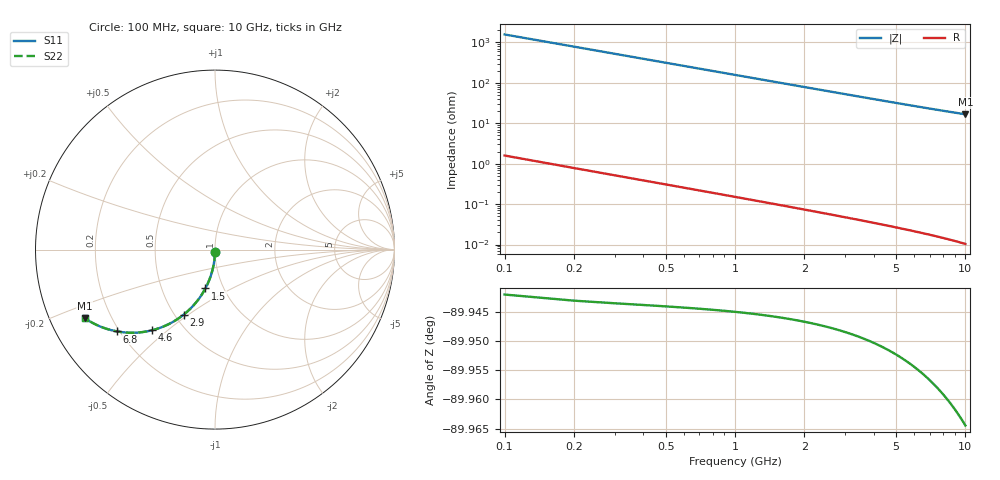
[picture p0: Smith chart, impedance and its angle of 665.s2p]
# Hz S RI R 50.00
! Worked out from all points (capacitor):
!   100 points, 100 MHz to 10 GHz, reference 50 ohm
!   read as one part in shunt: C = 1.01 pF near 100 MHz
!   lowest |Z| = 16.7 ohm at 10 GHz (marker M1)
!   S11 on the Smith chart (normalised r, x): 100 MHz: 1.00, -0.03; 1.5 GHz: 0.82, -0.37; 2.9 GHz: 0.55, -0.48; 4.6 GHz: 0.33, -0.44; 6.8 GHz: 0.19, -0.35; 10 GHz: 0.10, -0.24
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1e8  -3.65e-05 -0.0153  0.9995 -0.0164  0.9995 -0.0164  -3.65e-05 -0.0153
2e8  -0.000802 -0.0305  0.9987 -0.0329  0.9987 -0.0329  -0.000802 -0.0305
3e8  -0.00207 -0.0457  0.9975 -0.0492  0.9975 -0.0492  -0.00207 -0.0457
4e8  -0.00383 -0.0608  0.9957 -0.0655  0.9957 -0.0655  -0.00383 -0.0608
5e8  -0.00608 -0.0758  0.9934 -0.0817  0.9934 -0.0817  -0.00608 -0.0758
6e8  -0.00881 -0.0907  0.9907 -0.0978  0.9907 -0.0978  -0.00881 -0.0907
7e8  -0.012 -0.1054  0.9875 -0.1138  0.9875 -0.1138  -0.012 -0.1054
9e8  -0.0198 -0.1345  0.9796 -0.1452  0.9796 -0.1452  -0.0198 -0.1345
1.2e9  -0.0348 -0.1765  0.9646 -0.1908  0.9646 -0.1908  -0.0348 -0.1765
1.5e9  -0.0535 -0.2162  0.9459 -0.2341  0.9459 -0.2341  -0.0535 -0.2162
1.8e9  -0.0754 -0.2533  0.9239 -0.2748  0.9239 -0.2748  -0.0754 -0.2533
2.3e9  -0.1177 -0.3085  0.8815 -0.3359  0.8815 -0.3359  -0.1177 -0.3085
2.9e9  -0.1753 -0.3628  0.8237 -0.3974  0.8237 -0.3974  -0.1753 -0.3628
3.4e9  -0.2264 -0.3981  0.7722 -0.4388  0.7722 -0.4388  -0.2264 -0.3981
4e9  -0.289 -0.4292  0.7094 -0.4771  0.7094 -0.4771  -0.289 -0.4292
4.6e9  -0.3503 -0.4493  0.6476 -0.5045  0.6476 -0.5045  -0.3503 -0.4493
5.1e9  -0.3994 -0.4588  0.5982 -0.5202  0.5982 -0.5202  -0.3994 -0.4588
5.9e9  -0.4722 -0.4632  0.5247 -0.5344  0.5247 -0.5344  -0.4722 -0.4632
6.7e9  -0.5371 -0.4573  0.459 -0.5385  0.459 -0.5385  -0.5371 -0.4573
6.8e9  -0.5447 -0.456  0.4514 -0.5385  0.4514 -0.5385  -0.5447 -0.456
8.4e9  -0.649 -0.4244  0.3451 -0.5272  0.3451 -0.5272  -0.649 -0.4244
1e10  -0.7265 -0.3811  0.2652 -0.505  0.2652 -0.505  -0.7265 -0.3811
